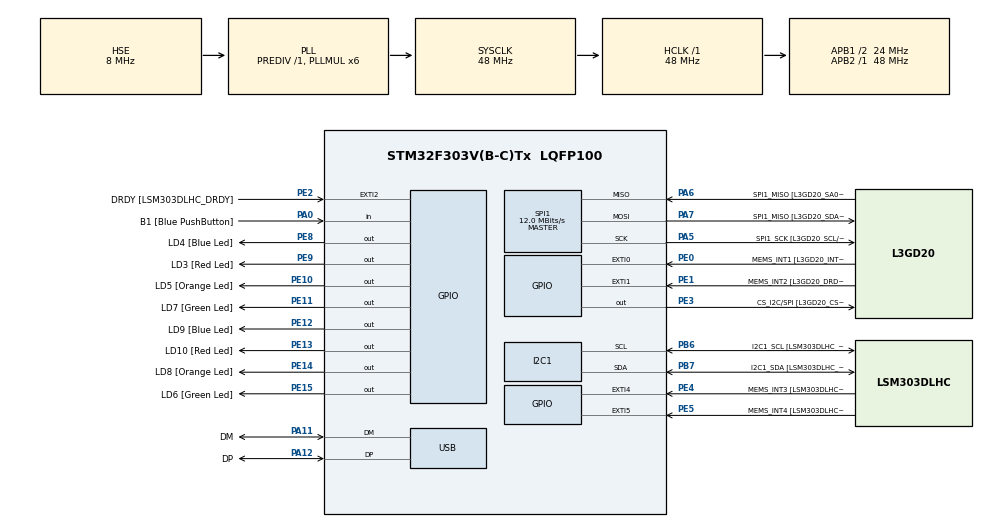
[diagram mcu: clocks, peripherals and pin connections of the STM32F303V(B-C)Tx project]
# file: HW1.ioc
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I2C1.Timing=0x2000090E
I2C1.Timing-I2C=0x2000090E
Mcu.Family=STM32F3
Mcu.Name=STM32F303V(B-C)Tx
Mcu.Package=LQFP100
NVIC.PriorityGroup=NVIC_PRIORITYGROUP_0
PA0.GPIO_Label=B1 [Blue PushButton]
PA0.Signal=GPIO_Input
PA11.GPIO_Label=DM
PA11.Mode=Device
PA11.Signal=USB_DM
PA12.GPIO_Label=DP
PA12.Mode=Device
PA12.Signal=USB_DP
PA13.GPIO_Label=SWDIO
PA13.Mode=Serial_Wire
PA13.Signal=SYS_JTMS-SWDIO
PA14.GPIO_Label=SWCLK
PA14.Mode=Serial_Wire
PA14.Signal=SYS_JTCK-SWCLK
PA5.GPIO_Label=SPI1_SCK [L3GD20_SCL/SPC]
PA5.Mode=Full_Duplex_Master
PA5.Signal=SPI1_SCK
PA6.GPIO_Label=SPI1_MISO [L3GD20_SA0/SDO]
PA6.Mode=Full_Duplex_Master
PA6.Signal=SPI1_MISO
PA7.GPIO_Label=SPI1_MISO [L3GD20_SDA/SDI/SDO]
PA7.Mode=Full_Duplex_Master
PA7.Signal=SPI1_MOSI
PB3.GPIO_Label=SWO
PB3.Signal=SYS_JTDO-TRACESWO
PB6.GPIO_Label=I2C1_SCL [LSM303DLHC_SCL]
PB6.GPIO_Pu=GPIO_PULLUP
PB6.Mode=I2C
PB6.Signal=I2C1_SCL
PB7.GPIO_Label=I2C1_SDA [LSM303DLHC_SDA]
PB7.GPIO_Pu=GPIO_PULLUP
PB7.Mode=I2C
PB7.Signal=I2C1_SDA
PC14-OSC32_IN.GPIO_Label=OSC32_IN
PC14-OSC32_IN.Signal=RCC_OSC32_IN
PC15-OSC32_OUT.GPIO_Label=OSC32_OUT
PC15-OSC32_OUT.Signal=RCC_OSC32_OUT
PE0.GPIO_Label=MEMS_INT1 [L3GD20_INT1]
PE0.GPIO_ModeDefaultEXTI=GPIO_MODE_EVT_RISING
PE0.Signal=GPXTI0
PE1.GPIO_Label=MEMS_INT2 [L3GD20_DRDY/INT2]
PE1.GPIO_ModeDefaultEXTI=GPIO_MODE_EVT_RISING
PE1.Signal=GPXTI1
PE10.GPIO_Label=LD5 [Orange Led]
PE10.Signal=GPIO_Output
PE11.GPIO_Label=LD7 [Green Led]
PE11.Signal=GPIO_Output
PE12.GPIO_Label=LD9 [Blue Led]
PE12.Signal=GPIO_Output
PE13.GPIO_Label=LD10 [Red Led]
PE13.Signal=GPIO_Output
PE14.GPIO_Label=LD8 [Orange Led]
PE14.Signal=GPIO_Output
PE15.GPIO_Label=LD6 [Green Led]
PE15.Signal=GPIO_Output
PE2.GPIO_Label=DRDY [LSM303DLHC_DRDY]
PE2.GPIO_ModeDefaultEXTI=GPIO_MODE_EVT_RISING
PE2.Signal=GPXTI2
PE3.GPIO_Label=CS_I2C/SPI [L3GD20_CS_I2C/SPI]
PE3.Signal=GPIO_Output
PE4.GPIO_Label=MEMS_INT3 [LSM303DLHC_INT1]
PE4.GPIO_ModeDefaultEXTI=GPIO_MODE_EVT_RISING
PE4.Signal=GPXTI4
PE5.GPIO_Label=MEMS_INT4 [LSM303DLHC_INT2]
PE5.GPIO_ModeDefaultEXTI=GPIO_MODE_EVT_RISING
PE5.Signal=GPXTI5
PE8.GPIO_Label=LD4 [Blue Led]
PE8.Signal=GPIO_Output
PE9.GPIO_Label=LD3 [Red Led]
PE9.Signal=GPIO_Output
PF0-OSC_IN.GPIO_Label=OSC_IN
PF0-OSC_IN.Mode=HSE-External-Clock-Source
PF0-OSC_IN.Signal=RCC_OSC_IN
PF1-OSC_OUT.GPIO_Label=OSC_OUT
PF1-OSC_OUT.Signal=RCC_OSC_OUT
ProjectManager.HeapSize=0x200
ProjectManager.StackSize=0x400
ProjectManager.TargetToolchain=STM32CubeIDE
RCC.AHBFreq_Value=48000000
RCC.APB1CLKDivider=RCC_HCLK_DIV2
RCC.APB1Freq_Value=24000000
RCC.APB1TimFreq_Value=48000000
RCC.APB2Freq_Value=48000000
RCC.APB2TimFreq_Value=48000000
RCC.CortexFreq_Value=48000000
RCC.HCLKFreq_Value=48000000
RCC.HSE_VALUE=8000000
RCC.HSI_VALUE=8000000
RCC.LSE_VALUE=32768
RCC.PLLMUL=RCC_PLL_MUL6
RCC.SYSCLKFreq_VALUE=48000000
RCC.SYSCLKSourceVirtual=RCC_SYSCLKSOURCE_PLLCLK
RCC.USBFreq_Value=48000000
SPI1.BaudRatePrescaler=SPI_BAUDRATEPRESCALER_4
SPI1.BaudRatePrescaler-Full_Duplex_Master=SPI_BAUDRATEPRESCALER_2
SPI1.CalculateBaudRate=12.0 MBits/s
SPI1.CalculateBaudRate-Full_Duplex_Master=24.0 MBits/s
SPI1.Direction=SPI_DIRECTION_2LINES
SPI1.Mode=SPI_MODE_MASTER
SPI1.Mode-Full_Duplex_Master=SPI_MODE_MASTER
SPI1.VirtualType=VM_MASTER
board=STM32F3DISCOVERY

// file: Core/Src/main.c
/* USER CODE BEGIN Header */
/**
  ******************************************************************************
  * @file           : main.c
  * @brief          : Main program body
  ******************************************************************************
  * @attention
  *
  * Copyright (c) 2023 STMicroelectronics.
  * All rights reserved.
  *
  * This software is licensed under terms that can be found in the LICENSE file
  * in the root directory of this software component.
  * If no LICENSE file comes with this software, it is provided AS-IS.
  *
  ******************************************************************************
  */
/* USER CODE END Header */
#include "main.h"

I2C_HandleTypeDef hi2c1;

SPI_HandleTypeDef hspi1;

PCD_HandleTypeDef hpcd_USB_FS;

void SystemClock_Config(void);
static void MX_GPIO_Init(void);
static void MX_I2C1_Init(void);
static void MX_SPI1_Init(void);
static void MX_USB_PCD_Init(void);

int main(void)
{

  /* MCU Configuration--------------------------------------------------------*/

  /* Reset of all peripherals, Initializes the Flash interface and the Systick. */
  HAL_Init();

  /* Configure the system clock */
  SystemClock_Config();

  /* Initialize all configured peripherals */
  MX_GPIO_Init();
  MX_I2C1_Init();
  MX_SPI1_Init();
  MX_USB_PCD_Init();
  /* USER CODE BEGIN 2 */
 // uint16_t LED[] = {LD3_Pin,LD4_Pin,LD5_Pin,LD6_Pin,LD7_Pin,LD8_Pin,LD9_Pin,LD10_Pin,NULL};
  //uint16_t LEDC[] = {LD3_Pin,LD4_Pin,LD6_Pin,LD8_Pin,LD10_Pin,LD9_Pin,LD7_Pin,LD5_Pin,NULL};

  uint16_t LED_ALL = LD3_Pin | LD4_Pin | LD6_Pin | LD8_Pin | LD10_Pin | LD9_Pin | LD7_Pin |LD5_Pin;
  uint16_t LED_HALF = LD3_Pin | LD6_Pin  | LD10_Pin | LD7_Pin ;

  int state = 0;

  /* USER CODE END 2 */

  /* Infinite loop */
  /* USER CODE BEGIN WHILE */
  while (1)
  {
	  if(HAL_GPIO_ReadPin(GPIOA, B1_Pin))
	  {
		  state = (state + 1) % 3;
		  //HAL_Delay(100);
	  }
	  switch(state)
	  {
	  	  case 0:
			  HAL_GPIO_WritePin(GPIOE, LED_ALL,1);
			  HAL_Delay(1000);
			  break;
	  	  case 1:
	  		  HAL_GPIO_WritePin(GPIOE, LED_HALF,0);
			  HAL_Delay(1000);
			  break;
		  case 2:
			  HAL_GPIO_WritePin(GPIOE, LED_ALL,1);
			  HAL_Delay(1000);
			  HAL_GPIO_WritePin(GPIOE, LED_ALL,0);
			  HAL_Delay(1000);
			  break;
	  }
    /* USER CODE END WHILE */

  }
}

void SystemClock_Config(void)
{
  RCC_OscInitTypeDef RCC_OscInitStruct = {0};
  RCC_ClkInitTypeDef RCC_ClkInitStruct = {0};
  RCC_PeriphCLKInitTypeDef PeriphClkInit = {0};

  /** Initializes the RCC Oscillators according to the specified parameters
  * in the RCC_OscInitTypeDef structure.
  */
  RCC_OscInitStruct.OscillatorType = RCC_OSCILLATORTYPE_HSI|RCC_OSCILLATORTYPE_HSE;
  RCC_OscInitStruct.HSEState = RCC_HSE_BYPASS;
  RCC_OscInitStruct.HSEPredivValue = RCC_HSE_PREDIV_DIV1;
  RCC_OscInitStruct.HSIState = RCC_HSI_ON;
  RCC_OscInitStruct.HSICalibrationValue = RCC_HSICALIBRATION_DEFAULT;
  RCC_OscInitStruct.PLL.PLLState = RCC_PLL_ON;
  RCC_OscInitStruct.PLL.PLLSource = RCC_PLLSOURCE_HSE;
  RCC_OscInitStruct.PLL.PLLMUL = RCC_PLL_MUL6;
  if (HAL_RCC_OscConfig(&RCC_OscInitStruct) != HAL_OK)
  {
    Error_Handler();
  }

  /** Initializes the CPU, AHB and APB buses clocks
  */
  RCC_ClkInitStruct.ClockType = RCC_CLOCKTYPE_HCLK|RCC_CLOCKTYPE_SYSCLK
                              |RCC_CLOCKTYPE_PCLK1|RCC_CLOCKTYPE_PCLK2;
  RCC_ClkInitStruct.SYSCLKSource = RCC_SYSCLKSOURCE_PLLCLK;
  RCC_ClkInitStruct.AHBCLKDivider = RCC_SYSCLK_DIV1;
  RCC_ClkInitStruct.APB1CLKDivider = RCC_HCLK_DIV2;
  RCC_ClkInitStruct.APB2CLKDivider = RCC_HCLK_DIV1;

  if (HAL_RCC_ClockConfig(&RCC_ClkInitStruct, FLASH_LATENCY_1) != HAL_OK)
  {
    Error_Handler();
  }
  PeriphClkInit.PeriphClockSelection = RCC_PERIPHCLK_USB|RCC_PERIPHCLK_I2C1;
  PeriphClkInit.I2c1ClockSelection = RCC_I2C1CLKSOURCE_HSI;
  PeriphClkInit.USBClockSelection = RCC_USBCLKSOURCE_PLL;
  if (HAL_RCCEx_PeriphCLKConfig(&PeriphClkInit) != HAL_OK)
  {
    Error_Handler();
  }
}

static void MX_I2C1_Init(void)
{

  hi2c1.Instance = I2C1;
  hi2c1.Init.Timing = 0x2000090E;
  hi2c1.Init.OwnAddress1 = 0;
  hi2c1.Init.AddressingMode = I2C_ADDRESSINGMODE_7BIT;
  hi2c1.Init.DualAddressMode = I2C_DUALADDRESS_DISABLE;
  hi2c1.Init.OwnAddress2 = 0;
  hi2c1.Init.OwnAddress2Masks = I2C_OA2_NOMASK;
  hi2c1.Init.GeneralCallMode = I2C_GENERALCALL_DISABLE;
  hi2c1.Init.NoStretchMode = I2C_NOSTRETCH_DISABLE;
  if (HAL_I2C_Init(&hi2c1) != HAL_OK)
  {
    Error_Handler();
  }

  /** Configure Analogue filter
  */
  if (HAL_I2CEx_ConfigAnalogFilter(&hi2c1, I2C_ANALOGFILTER_ENABLE) != HAL_OK)
  {
    Error_Handler();
  }

  /** Configure Digital filter
  */
  if (HAL_I2CEx_ConfigDigitalFilter(&hi2c1, 0) != HAL_OK)
  {
    Error_Handler();
  }

}

static void MX_SPI1_Init(void)
{

  /* SPI1 parameter configuration*/
  hspi1.Instance = SPI1;
  hspi1.Init.Mode = SPI_MODE_MASTER;
  hspi1.Init.Direction = SPI_DIRECTION_2LINES;
  hspi1.Init.DataSize = SPI_DATASIZE_4BIT;
  hspi1.Init.CLKPolarity = SPI_POLARITY_LOW;
  hspi1.Init.CLKPhase = SPI_PHASE_1EDGE;
  hspi1.Init.NSS = SPI_NSS_SOFT;
  hspi1.Init.BaudRatePrescaler = SPI_BAUDRATEPRESCALER_4;
  hspi1.Init.FirstBit = SPI_FIRSTBIT_MSB;
  hspi1.Init.TIMode = SPI_TIMODE_DISABLE;
  hspi1.Init.CRCCalculation = SPI_CRCCALCULATION_DISABLE;
  hspi1.Init.CRCPolynomial = 7;
  hspi1.Init.CRCLength = SPI_CRC_LENGTH_DATASIZE;
  hspi1.Init.NSSPMode = SPI_NSS_PULSE_ENABLE;
  if (HAL_SPI_Init(&hspi1) != HAL_OK)
  {
    Error_Handler();
  }

}

static void MX_USB_PCD_Init(void)
{

  hpcd_USB_FS.Instance = USB;
  hpcd_USB_FS.Init.dev_endpoints = 8;
  hpcd_USB_FS.Init.speed = PCD_SPEED_FULL;
  hpcd_USB_FS.Init.phy_itface = PCD_PHY_EMBEDDED;
  hpcd_USB_FS.Init.low_power_enable = DISABLE;
  hpcd_USB_FS.Init.battery_charging_enable = DISABLE;
  if (HAL_PCD_Init(&hpcd_USB_FS) != HAL_OK)
  {
    Error_Handler();
  }

}

static void MX_GPIO_Init(void)
{
  GPIO_InitTypeDef GPIO_InitStruct = {0};

  /* GPIO Ports Clock Enable */
  __HAL_RCC_GPIOE_CLK_ENABLE();
  __HAL_RCC_GPIOC_CLK_ENABLE();
  __HAL_RCC_GPIOF_CLK_ENABLE();
  __HAL_RCC_GPIOA_CLK_ENABLE();
  __HAL_RCC_GPIOB_CLK_ENABLE();

  /*Configure GPIO pin Output Level */
  HAL_GPIO_WritePin(GPIOE, CS_I2C_SPI_Pin|LD4_Pin|LD3_Pin|LD5_Pin
                          |LD7_Pin|LD9_Pin|LD10_Pin|LD8_Pin
                          |LD6_Pin, GPIO_PIN_RESET);

  /*Configure GPIO pins : DRDY_Pin MEMS_INT3_Pin MEMS_INT4_Pin MEMS_INT1_Pin
                           MEMS_INT2_Pin */
  GPIO_InitStruct.Pin = DRDY_Pin|MEMS_INT3_Pin|MEMS_INT4_Pin|MEMS_INT1_Pin
                          |MEMS_INT2_Pin;
  GPIO_InitStruct.Mode = GPIO_MODE_EVT_RISING;
  GPIO_InitStruct.Pull = GPIO_NOPULL;
  HAL_GPIO_Init(GPIOE, &GPIO_InitStruct);

  /*Configure GPIO pins : CS_I2C_SPI_Pin LD4_Pin LD3_Pin LD5_Pin
                           LD7_Pin LD9_Pin LD10_Pin LD8_Pin
                           LD6_Pin */
  GPIO_InitStruct.Pin = CS_I2C_SPI_Pin|LD4_Pin|LD3_Pin|LD5_Pin
                          |LD7_Pin|LD9_Pin|LD10_Pin|LD8_Pin
                          |LD6_Pin;
  GPIO_InitStruct.Mode = GPIO_MODE_OUTPUT_PP;
  GPIO_InitStruct.Pull = GPIO_NOPULL;
  GPIO_InitStruct.Speed = GPIO_SPEED_FREQ_LOW;
  HAL_GPIO_Init(GPIOE, &GPIO_InitStruct);

  /*Configure GPIO pin : B1_Pin */
  GPIO_InitStruct.Pin = B1_Pin;
  GPIO_InitStruct.Mode = GPIO_MODE_INPUT;
  GPIO_InitStruct.Pull = GPIO_NOPULL;
  HAL_GPIO_Init(B1_GPIO_Port, &GPIO_InitStruct);

}

void Error_Handler(void)
{
  __disable_irq();
  while (1)
  {
  }
}
